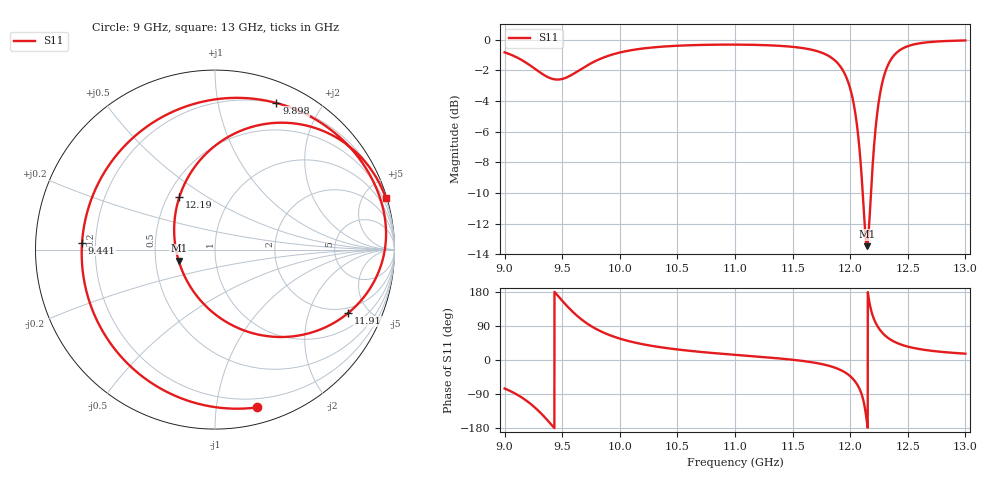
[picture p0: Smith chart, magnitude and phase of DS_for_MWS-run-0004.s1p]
! TOUCHSTONE file generated by CST DESIGN STUDIO
! Date and time: Tue Feb  4 18:29:39 2025
! Project name: C:\Work\MatlabApps\UnitCellOptimizationMatlab\CST\unitcell.cst
! Tree item: Tasks\Sweep1\SPara1\S-Parameters
! Header version: 2024
! Port assignment regex: !\s*Touchstone port\s*([0-9]+)\s*=\s*(CST MWS port|CST DES external port|CST DES block port)\s*(.+)\s* \(\"(.*)\"\)(\s*mode\s*([0-9]+))?.*
! Touchstone port assignment:
! Touchstone port 1 = CST DES external port 1 ("")
# GHz S MA R 50
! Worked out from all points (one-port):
!   4001 points, 9 GHz to 13 GHz, reference 50 ohm
!   lowest |S11| = -13.5 dB at 12.14 GHz (marker M1), VSWR 1.54, Z = 32.9 - j4.31 ohm
!   |S11| at or under -10 dB: 12.11 GHz to 12.18 GHz (71.53 MHz wide, 0.589 % of centre)
!   S11 on the Smith chart (normalised r, x): 9 GHz: 0.13, -1.29; 9.441 GHz: 0.15, +0.03; 9.898 GHz: 0.20, +1.49; 11.91 GHz: 1.70, -3.70; 12.19 GHz: 0.57, +0.39; 13 GHz: 0.13, +6.82
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9  0.9096 -75.2
9.13  0.866 -95.3
9.232  0.8193 -117.3
9.35  0.7639 -151.6
9.441  0.7418 177.0
9.5  0.7446 156.3
9.588  0.77 128.1
9.674  0.8062 105.5
9.772  0.846 85.7
9.898  0.8856 67.3
10  0.9083 56.4
10.215  0.9376 40.7
10.5  0.9557 27.8
11  0.9639 13.6
11.5  0.9478 0.6
11.758  0.9056 -11.0
11.91  0.8222 -25.4
12  0.6929 -42.7
12.079  0.4468 -74.9
12.111  0.3063 -102.5
12.145  0.212 -162.8
12.188  0.3544 124.0
12.236  0.5814 89.6
12.288  0.7483 68.9
12.38  0.8887 48.7
12.5  0.9525 35.3
12.688  0.9824 24.9
13  0.9945 16.7
